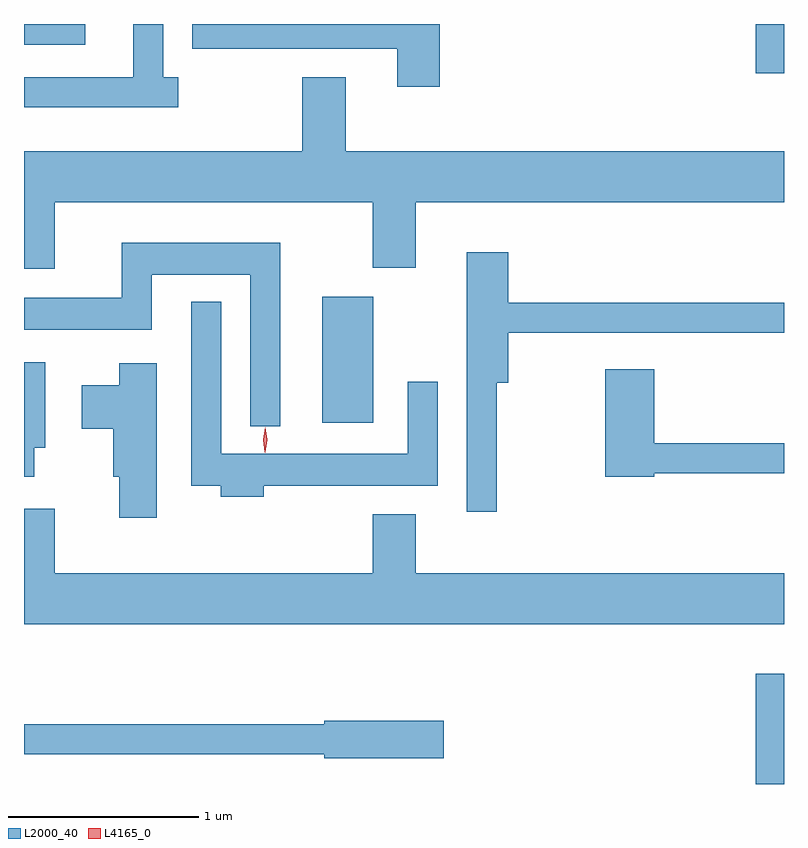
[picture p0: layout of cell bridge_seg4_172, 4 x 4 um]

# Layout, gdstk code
import gdstk
lib = gdstk.Library(unit=1e-6, precision=1e-09)
def R(c, l, rs):  # rectangles x0, y0, x1, y1
    for r in rs: c.add(gdstk.rectangle(r[:2], r[2:], *l))
def P(c, l, *ps):  # polygons
    for p in ps: c.add(gdstk.Polygon(p, *l))
L2000_40 = (2000, 40)
L4165_0 = (4165, 0)

bridge_seg4_172 = lib.new_cell('bridge_seg4_172')
R(bridge_seg4_172, L2000_40, [(947.916,1271.695,948.066,1272.274), (945.636,1273.596,945.904,1274.259), (947.916,1275.436,948.066,1275.695), (944.066,1275.586,944.388,1275.695)])
P(bridge_seg4_172, L2000_40, [(944.878,1275.414),(944.799,1275.414),(944.799,1275.695),(944.641,1275.695),(944.641,1275.414),(944.066,1275.414),(944.066,1275.256),(944.878,1275.256)],
  [(946.254,1275.695),(944.951,1275.695),(944.951,1275.566),(946.031,1275.566),(946.031,1275.366),(946.254,1275.366)],
  [(944.229,1274.756),(945.901,1274.756),(945.901,1274.411),(946.129,1274.411),(946.129,1274.756),(948.066,1274.756),(948.066,1275.024),(945.759,1275.024),(945.759,1275.414),(945.531,1275.414),(945.531,1275.024),(944.066,1275.024),(944.066,1274.406),(944.229,1274.406)],
  [(945.414,1274.544),(944.581,1274.544),(944.581,1274.254),(944.066,1274.254),(944.066,1274.086),(944.739,1274.086),(944.739,1274.376),(945.256,1274.376),(945.256,1273.578),(945.414,1273.578)],
  [(946.554,1273.806),(946.614,1273.806),(946.614,1274.071),(948.066,1274.071),(948.066,1274.229),(946.614,1274.229),(946.614,1274.494),(946.396,1274.494),(946.396,1273.128),(946.554,1273.128)],
  [(945.329,1273.266),(946.244,1273.266),(946.244,1273.813),(946.086,1273.813),(946.086,1273.434),(945.104,1273.434),(945.104,1274.233),(944.946,1274.233),(944.946,1273.266),(945.101,1273.266),(945.101,1273.206),(945.329,1273.206)],
  [(944.119,1273.466),(944.179,1273.466),(944.179,1273.914),(944.066,1273.914),(944.066,1273.311),(944.119,1273.311)],
  [(944.764,1273.909),(944.566,1273.909),(944.566,1273.794),(944.371,1273.794),(944.371,1273.566),(944.536,1273.566),(944.536,1273.311),(944.566,1273.311),(944.566,1273.096),(944.764,1273.096)],
  [(947.384,1273.331),(948.066,1273.331),(948.066,1273.489),(947.384,1273.489),(947.384,1273.879),(947.126,1273.879),(947.126,1273.311),(947.384,1273.311)],
  [(948.066,1272.804),(946.129,1272.804),(946.129,1273.114),(945.901,1273.114),(945.901,1272.804),(944.229,1272.804),(944.229,1273.144),(944.066,1273.144),(944.066,1272.536),(948.066,1272.536)],
  [(946.274,1272.029),(945.646,1272.029),(945.646,1272.009),(944.066,1272.009),(944.066,1271.851),(945.646,1271.851),(945.646,1271.831),(946.274,1271.831)])
P(bridge_seg4_172, L4165_0, [(945.335,1273.439),(945.334,1273.44),(945.325,1273.506),(945.335,1273.572),(945.335,1273.573),(945.336,1273.572),(945.345,1273.506),(945.335,1273.44)])

lib.write_gds('bridge_seg4_172.gds')
